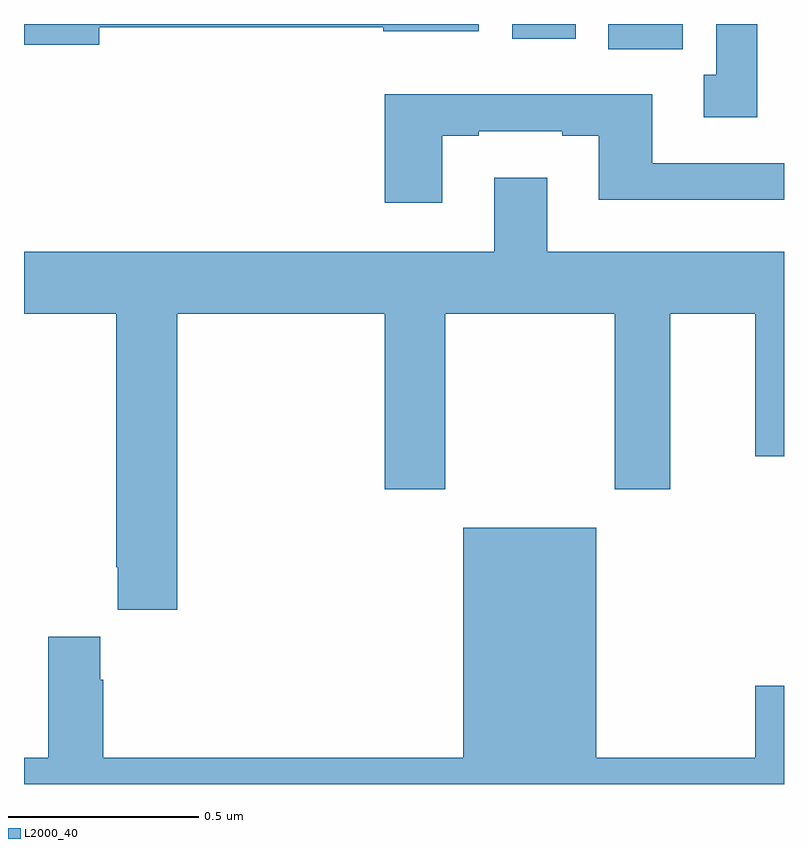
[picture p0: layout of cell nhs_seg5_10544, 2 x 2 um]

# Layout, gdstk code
import gdstk
lib = gdstk.Library(unit=1e-6, precision=1e-09)
def R(c, l, rs):  # rectangles x0, y0, x1, y1
    for r in rs: c.add(gdstk.rectangle(r[:2], r[2:], *l))
def P(c, l, *ps):  # polygons
    for p in ps: c.add(gdstk.Polygon(p, *l))
L2000_40 = (2000, 40)

nhs_seg5_10544 = lib.new_cell('nhs_seg5_10544')
R(nhs_seg5_10544, L2000_40, [(248.537,914.732,248.734,914.799), (248.285,914.76,248.452,914.799)])
P(nhs_seg5_10544, L2000_40, [(248.929,914.799),(248.822,914.799),(248.822,914.666),(248.789,914.666),(248.789,914.553),(248.929,914.553)],
  [(247.198,914.791),(247.946,914.791),(247.946,914.78),(248.197,914.78),(248.197,914.799),(247,914.799),(247,914.744),(247.198,914.744)],
  [(248.101,914.505),(248.197,914.505),(248.197,914.517),(248.417,914.517),(248.417,914.505),(248.513,914.505),(248.513,914.336),(249,914.336),(249,914.433),(248.653,914.433),(248.653,914.614),(247.949,914.614),(247.949,914.328),(248.101,914.328)],
  [(247.403,914.036),(247.949,914.036),(247.949,913.575),(248.109,913.575),(248.109,914.036),(248.554,914.036),(248.554,913.575),(248.701,913.575),(248.701,914.036),(248.924,914.036),(248.924,913.662),(249,913.662),(249,914.2),(248.377,914.2),(248.377,914.395),(248.237,914.395),(248.237,914.2),(247,914.2),(247,914.036),(247.243,914.036),(247.243,913.369),(247.247,913.369),(247.247,913.257),(247.403,913.257)],
  [(249,913.057),(248.924,913.057),(248.924,912.868),(248.506,912.868),(248.506,913.474),(248.156,913.474),(248.156,912.868),(247.208,912.868),(247.208,913.073),(247.201,913.073),(247.201,913.186),(247.064,913.186),(247.064,912.868),(247,912.868),(247,912.799),(249,912.799)])

lib.write_gds('nhs_seg5_10544.gds')
